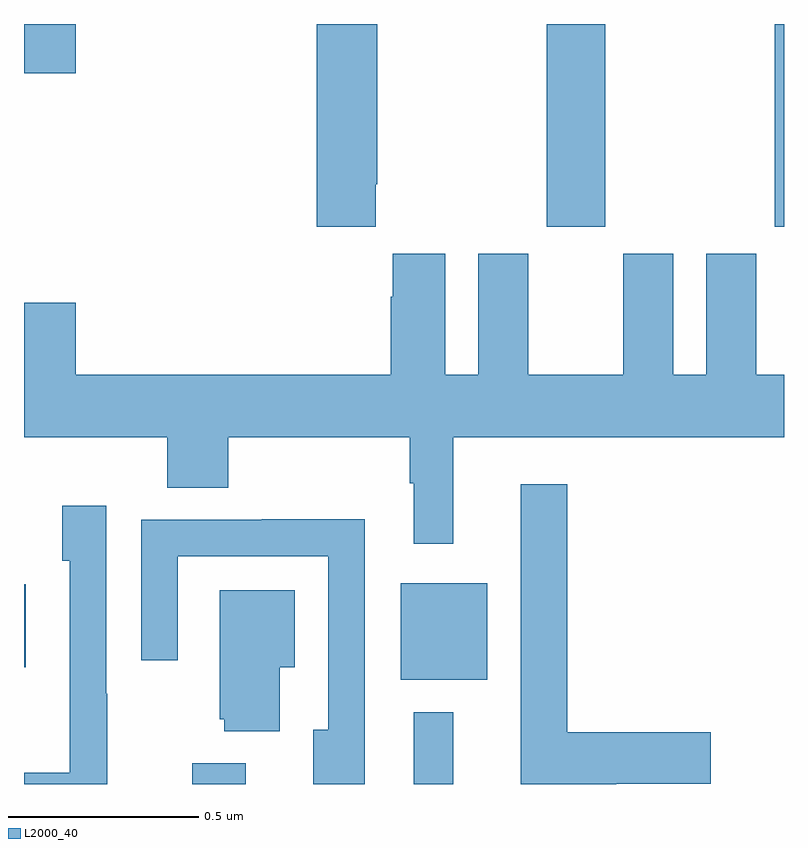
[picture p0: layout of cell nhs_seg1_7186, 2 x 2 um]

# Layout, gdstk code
import gdstk
lib = gdstk.Library(unit=1e-6, precision=1e-09)
def R(c, l, rs):  # rectangles x0, y0, x1, y1
    for r in rs: c.add(gdstk.rectangle(r[:2], r[2:], *l))
def P(c, l, *ps):  # polygons
    for p in ps: c.add(gdstk.Polygon(p, *l))
L2000_40 = (2000, 40)

nhs_seg1_7186 = lib.new_cell('nhs_seg1_7186')
R(nhs_seg1_7186, L2000_40, [(201.443,504.199,201.583,504.253), (202.025,504.199,202.129,504.388), (201.992,504.473,202.219,504.727), (201,504.506,201.004,504.725), (202.375,505.665,202.53,506.199), (202.975,505.665,203,506.199), (201,506.07,201.136,506.199)])
P(nhs_seg1_7186, L2000_40, [(201.925,505.777),(201.93,505.777),(201.93,506.199),(201.77,506.199),(201.77,505.665),(201.925,505.665)],
  [(202.129,505.112),(203,505.112),(203,505.276),(202.927,505.276),(202.927,505.594),(202.796,505.594),(202.796,505.276),(202.708,505.276),(202.708,505.594),(202.577,505.594),(202.577,505.276),(202.327,505.276),(202.327,505.594),(202.196,505.594),(202.196,505.276),(202.108,505.276),(202.108,505.594),(201.971,505.594),(201.971,505.481),(201.965,505.481),(201.965,505.276),(201.136,505.276),(201.136,505.465),(201,505.465),(201,505.112),(201.377,505.112),(201.377,504.979),(201.537,504.979),(201.537,505.112),(202.015,505.112),(202.015,504.991),(202.025,504.991),(202.025,504.831),(202.129,504.831)],
  [(202.558,504.2),(202.807,504.2),(202.807,504.335),(202.429,504.335),(202.429,504.988),(202.307,504.988),(202.307,504.199),(202.558,504.199)],
  [(201.219,504.437),(201.216,504.437),(201.216,504.931),(201.101,504.931),(201.101,504.786),(201.12,504.786),(201.12,504.228),(201,504.228),(201,504.199),(201.219,504.199)],
  [(201.897,504.896),(201.625,504.896),(201.625,504.894),(201.309,504.894),(201.309,504.525),(201.405,504.525),(201.405,504.798),(201.801,504.798),(201.801,504.342),(201.761,504.342),(201.761,504.199),(201.897,504.199)],
  [(201.673,504.506),(201.712,504.506),(201.712,504.709),(201.515,504.709),(201.515,504.369),(201.527,504.369),(201.527,504.338),(201.673,504.338)])

lib.write_gds('nhs_seg1_7186.gds')
